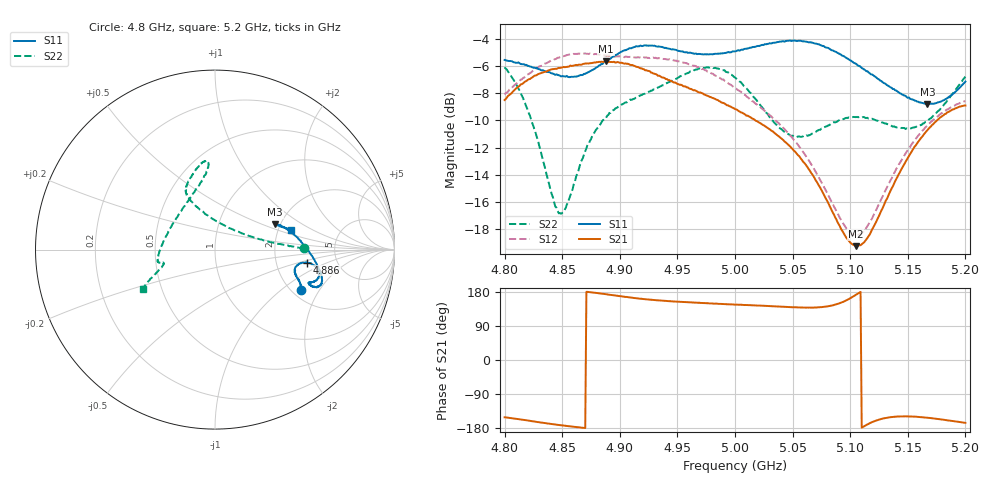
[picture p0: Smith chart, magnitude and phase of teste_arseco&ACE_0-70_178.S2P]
! Network Analyzer HP8722D
! Hewlett-Packard
! Data name: Linha & Wilkinson
! Saver's name: Rodrigo Anjos
! Comments: Teste da utilização de aquisição
! continua pelo VNA HP8722D
! Time and date: 8/5/2025 14:14
!  Frequency  S11  S21  S12  S22
# HZ  S  MA R 50
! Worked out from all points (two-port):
!   401 points, 4.8 GHz to 5.2 GHz, reference 50 ohm
!   highest |S21| = -5.64 dB at 4.888 GHz (marker M1); lowest = -19.3 dB at 5.105 GHz (marker M2)
!   |S21| within 3 dB of the highest: start of sweep to 4.988 GHz
!   lowest |S11| = -8.8 dB at 5.167 GHz (marker M3), VSWR 2.14, Z = 93.8 + j30.6 ohm
!   |S11| at or under -10 dB: nowhere
!   |S22| runs from -16.9 to -6.1 dB; largest |S21 - S12| = 1.1
!   S11 on the Smith chart (normalised r, x): 4.8 GHz: 2.23, -1.39; 4.886 GHz: 3.01, -0.60; 5.2 GHz: 2.36, +0.65
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4.8e9  0.5286 -25.1  0.3762 -151.2  0.3943 8.1  0.4967 0.8
4.82e9  0.5027 -20.6  0.4462 -159.5  0.4675 5.3  0.3462 5.7
4.842e9  0.4706 -17.5  0.4888 -169.4  0.5271 1.9  0.1644 37.6
4.847e9  0.4645 -16.1  0.4942 -171.4  0.5385 0.9  0.1438 56.4
4.853e9  0.4592 -14.8  0.4976 -173.7  0.5488 -0.1  0.1503 79.5
4.867e9  0.4648 -10.9  0.5082 -178.7  0.5574 -2.1  0.2259 108.5
4.886e9  0.5175 -8.0  0.5203 174.6  0.5505 -3.2  0.3186 117.0
4.888e9  0.5235 -8.2  0.5221 173.5  0.5483 -3.3  0.3226 116.9
4.913e9  0.5904 -11.7  0.5022 163.5  0.5406 -2.5  0.381 114.9
4.934e9  0.5929 -16.6  0.4627 157.2  0.537 -3.3  0.4198 109.3
4.973e9  0.554 -19.5  0.3949 150.2  0.4878 -6.8  0.4943 97.1
5e9  0.5688 -20.6  0.3483 146.2  0.4163 -6.7  0.4557 95.1
5.043e9  0.6174 -18.6  0.2644 140.3  0.294 1.3  0.2868 130.6
5.067e9  0.6123 -14.1  0.2003 138.3  0.2155 8.7  0.2832 165.0
5.094e9  0.5471 -4.4  0.122 153.6  0.1318 33.5  0.32 -172.9
5.105e9  0.5119 0.6  0.1088 172.2  0.1194 54.6  0.3253 -169.4
5.115e9  0.4803 5.9  0.1168 -169.9  0.1291 73.9  0.3236 -167.4
5.134e9  0.4217 15.0  0.1705 -151.3  0.1864 94.2  0.3053 -166.1
5.15e9  0.3832 20.8  0.2301 -149.1  0.246 99.3  0.2955 -164.8
5.167e9  0.3635 22.9  0.2911 -152.4  0.3031 100.3  0.3143 -161.6
5.183e9  0.3795 20.4  0.3345 -158.5  0.3447 100.2  0.3682 -157.2
5.2e9  0.4399 14.6  0.3591 -165.8  0.3732 100.8  0.4586 -151.7
